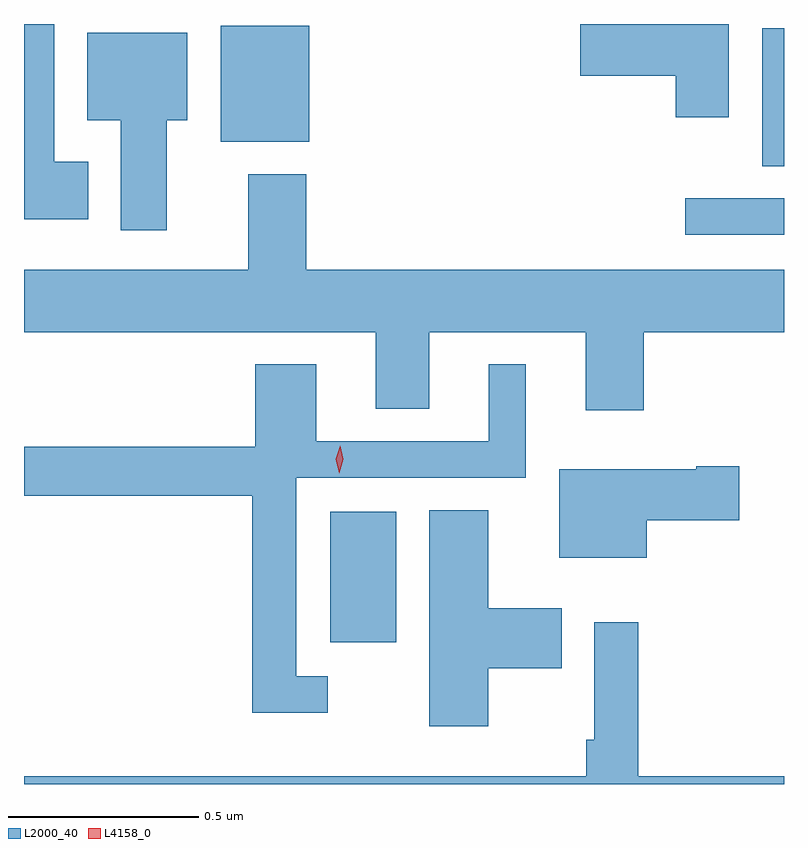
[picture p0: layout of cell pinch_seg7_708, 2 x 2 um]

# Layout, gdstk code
import gdstk
lib = gdstk.Library(unit=1e-6, precision=1e-09)
def R(c, l, rs):  # rectangles x0, y0, x1, y1
    for r in rs: c.add(gdstk.rectangle(r[:2], r[2:], *l))
def P(c, l, *ps):  # polygons
    for p in ps: c.add(gdstk.Polygon(p, *l))
L2000_40 = (2000, 40)
L4158_0 = (4158, 0)

pinch_seg7_708 = lib.new_cell('pinch_seg7_708')
R(pinch_seg7_708, L2000_40, [(193.295,1031.768,193.468,1032.112), (194.229,1032.84,194.489,1032.936), (194.432,1033.021,194.489,1033.384), (193.007,1033.085,193.24,1033.39)])
P(pinch_seg7_708, L2000_40, [(192.658,1033.033),(192.568,1033.033),(192.568,1033.395),(192.489,1033.395),(192.489,1032.881),(192.658,1032.881)],
  [(194.344,1033.395),(193.953,1033.395),(193.953,1033.259),(194.204,1033.259),(194.204,1033.149),(194.344,1033.149)],
  [(192.865,1033.142),(192.919,1033.142),(192.919,1033.372),(192.656,1033.372),(192.656,1033.142),(192.743,1033.142),(192.743,1032.852),(192.865,1032.852)],
  [(194.12,1032.584),(194.489,1032.584),(194.489,1032.748),(193.232,1032.748),(193.232,1033),(193.079,1033),(193.079,1032.748),(192.489,1032.748),(192.489,1032.584),(193.415,1032.584),(193.415,1032.382),(193.555,1032.382),(193.555,1032.584),(193.967,1032.584),(193.967,1032.378),(194.12,1032.378)],
  [(193.288,1031.679),(193.206,1031.679),(193.206,1032.201),(193.81,1032.201),(193.81,1032.499),(193.712,1032.499),(193.712,1032.297),(193.258,1032.297),(193.258,1032.499),(193.097,1032.499),(193.097,1032.283),(192.489,1032.283),(192.489,1032.154),(193.09,1032.154),(193.09,1031.582),(193.288,1031.582)],
  [(194.128,1032.089),(194.371,1032.089),(194.371,1032.231),(194.258,1032.231),(194.258,1032.223),(193.898,1032.223),(193.898,1031.99),(194.128,1031.99)],
  [(193.711,1031.699),(193.904,1031.699),(193.904,1031.857),(193.711,1031.857),(193.711,1032.116),(193.556,1032.116),(193.556,1031.547),(193.711,1031.547)],
  [(194.489,1031.416),(194.105,1031.416),(194.105,1031.821),(193.989,1031.821),(193.989,1031.512),(193.969,1031.512),(193.969,1031.416),(192.489,1031.416),(192.489,1031.395),(194.489,1031.395)])
P(pinch_seg7_708, L4158_0, [(193.318,1032.213),(193.318,1032.213),(193.31,1032.25),(193.321,1032.285),(193.321,1032.285),(193.321,1032.285),(193.329,1032.249),(193.318,1032.213)])

lib.write_gds('pinch_seg7_708.gds')
